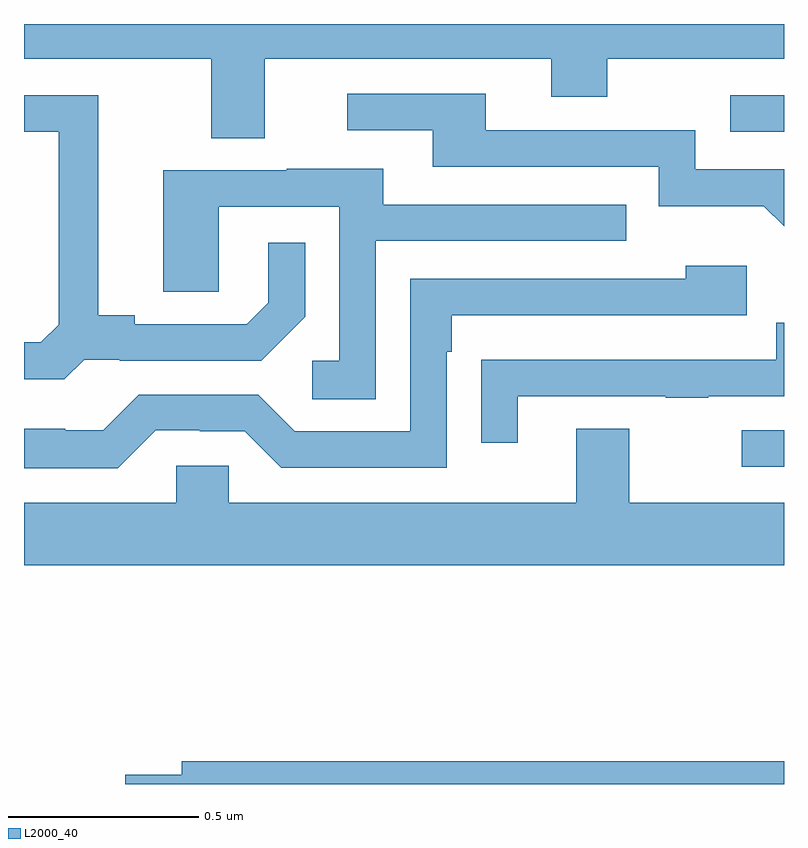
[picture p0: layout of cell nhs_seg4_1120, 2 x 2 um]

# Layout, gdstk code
import gdstk
lib = gdstk.Library(unit=1e-6, precision=1e-09)
def R(c, l, rs):  # rectangles x0, y0, x1, y1
    for r in rs: c.add(gdstk.rectangle(r[:2], r[2:], *l))
def P(c, l, *ps):  # polygons
    for p in ps: c.add(gdstk.Polygon(p, *l))
L2000_40 = (2000, 40)

nhs_seg4_1120 = lib.new_cell('nhs_seg4_1120')
R(nhs_seg4_1120, L2000_40, [(125.889,807.735,126,807.831), (125.859,808.617,126,808.713)])
P(nhs_seg4_1120, L2000_40, [(124.633,808.808),(125.387,808.808),(125.387,808.709),(125.535,808.709),(125.535,808.808),(126,808.808),(126,808.9),(124,808.9),(124,808.808),(124.493,808.808),(124.493,808.6),(124.633,808.6)],
  [(126,808.518),(125.766,808.518),(125.766,808.62),(125.215,808.62),(125.215,808.716),(124.851,808.716),(124.851,808.62),(125.075,808.62),(125.075,808.524),(125.67,808.524),(125.67,808.421),(125.947,808.421),(126,808.368)],
  [(124.158,808.017),(124.252,808.017),(124.252,808.014),(124.624,808.014),(124.74,808.13),(124.74,808.324),(124.643,808.324),(124.643,808.167),(124.586,808.11),(124.291,808.11),(124.291,808.133),(124.195,808.133),(124.195,808.713),(124,808.713),(124,808.617),(124.091,808.617),(124.091,808.109),(124.044,808.062),(124,808.062),(124,807.965),(124.106,807.965)],
  [(124.926,808.329),(125.585,808.329),(125.585,808.425),(124.945,808.425),(124.945,808.519),(124.691,808.519),(124.691,808.515),(124.367,808.515),(124.367,808.195),(124.512,808.195),(124.512,808.419),(124.83,808.419),(124.83,808.014),(124.758,808.014),(124.758,807.913),(124.926,807.913)],
  [(124.347,807.831),(124.463,807.831),(124.463,807.828),(124.581,807.828),(124.677,807.732),(125.112,807.732),(125.112,808.037),(125.125,808.037),(125.125,808.134),(125.902,808.134),(125.902,808.264),(125.741,808.264),(125.741,808.23),(125.016,808.23),(125.016,807.828),(124.713,807.828),(124.617,807.924),(124.302,807.924),(124.209,807.831),(124.109,807.831),(124.109,807.835),(124,807.835),(124,807.731),(124.247,807.731)],
  [(125.299,807.921),(125.689,807.921),(125.689,807.916),(125.801,807.916),(125.801,807.921),(126,807.921),(126,808.114),(125.98,808.114),(125.98,808.017),(125.305,808.017),(125.305,808.016),(125.203,808.016),(125.203,807.798),(125.299,807.798)],
  [(126,807.64),(125.593,807.64),(125.593,807.835),(125.453,807.835),(125.453,807.64),(124.539,807.64),(124.539,807.738),(124.401,807.738),(124.401,807.64),(124,807.64),(124,807.476),(126,807.476)],
  [(126,806.96),(124.415,806.96),(124.415,806.924),(124.266,806.924),(124.266,806.9),(126,806.9)])

lib.write_gds('nhs_seg4_1120.gds')
